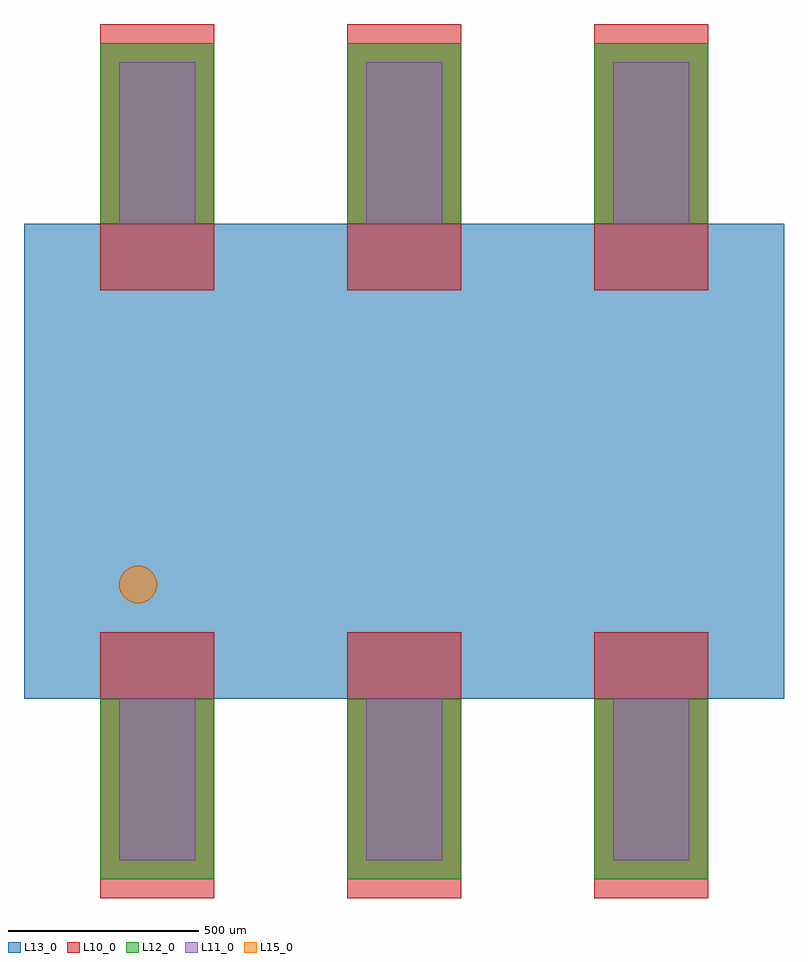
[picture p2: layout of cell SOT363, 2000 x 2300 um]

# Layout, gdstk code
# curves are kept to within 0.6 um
import gdstk
lib = gdstk.Library(unit=1e-6, precision=1e-09)
def R(c, l, rs):  # rectangles x0, y0, x1, y1
    for r in rs: c.add(gdstk.rectangle(r[:2], r[2:], *l))
def A(c, l, x, y, w, h, nx, ny, dx, dy):  # array of equal rectangles
    R(c, l, [(x+i*dx, y+j*dy, x+i*dx+w, y+j*dy+h) for i in range(nx) for j in range(ny)])
def P(c, l, *ps):  # polygons
    for p in ps: c.add(gdstk.Polygon(p, *l))
L10_0 = (10, 0)
L11_0 = (11, 0)
L12_0 = (12, 0)
L13_0 = (13, 0)
L15_0 = (15, 0)

sot363 = lib.new_cell('SOT363')
A(sot363, L10_0, -800, -1150, 300, 700, 3, 2, 650, 1600)
A(sot363, L11_0, -750, -1050, 200, 425, 3, 2, 650, 1675)
A(sot363, L12_0, -800, -1100, 300, 475, 3, 2, 650, 1725)
R(sot363, L13_0, [(-1000,-625,1000,625)])
P(sot363, L15_0, [(-653,-342),(-657,-350),(-662,-357),(-668,-363),(-675,-368),(-683,-372),(-700,-375),(-717,-372),(-725,-368),(-732,-363),(-738,-357),(-743,-350),(-747,-342),(-750,-325),(-747,-308),(-743,-300),(-738,-293),(-732,-287),(-725,-282),(-717,-278),(-700,-275),(-683,-278),(-675,-282),(-668,-287),(-662,-293),(-657,-300),(-653,-308),(-650,-325)])

lib.write_gds('SOT363.gds')
